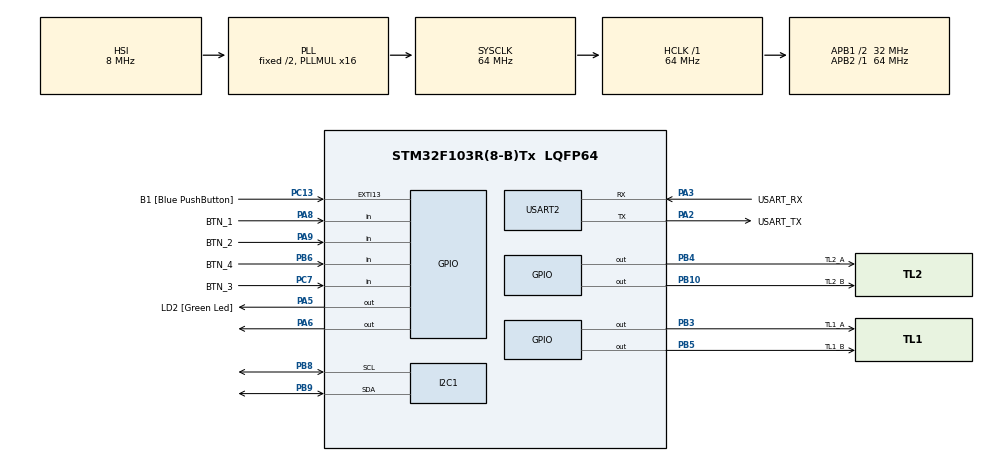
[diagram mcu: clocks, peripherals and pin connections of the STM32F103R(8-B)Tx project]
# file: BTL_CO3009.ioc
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Mcu.Family=STM32F1
Mcu.Name=STM32F103R(8-B)Tx
Mcu.Package=LQFP64
NVIC.EXTI15_10_IRQn=true\:0\:0\:false\:false\:true\:true\:true\:true
NVIC.PriorityGroup=NVIC_PRIORITYGROUP_4
NVIC.TIM2_IRQn=true\:0\:0\:false\:false\:true\:true\:true\:true
PA13.GPIO_Label=TMS
PA13.Mode=Serial_Wire
PA13.Signal=SYS_JTMS-SWDIO
PA14.GPIO_Label=TCK
PA14.Mode=Serial_Wire
PA14.Signal=SYS_JTCK-SWCLK
PA2.GPIO_Label=USART_TX
PA2.GPIO_Mode=GPIO_MODE_AF_PP
PA2.GPIO_PuPd=GPIO_NOPULL
PA2.GPIO_Speed=GPIO_SPEED_FREQ_LOW
PA2.Mode=Asynchronous
PA2.Signal=USART2_TX
PA3.GPIO_Label=USART_RX
PA3.GPIO_Mode=GPIO_MODE_AF_PP
PA3.GPIO_PuPd=GPIO_NOPULL
PA3.GPIO_Speed=GPIO_SPEED_FREQ_LOW
PA3.Mode=Asynchronous
PA3.Signal=USART2_RX
PA5.GPIO_Label=LD2 [Green Led]
PA5.GPIO_ModeDefaultOutputPP=GPIO_MODE_OUTPUT_PP
PA5.GPIO_PuPd=GPIO_NOPULL
PA5.GPIO_Speed=GPIO_SPEED_FREQ_LOW
PA5.Signal=GPIO_Output
PA6.Signal=GPIO_Output
PA8.GPIO_Label=BTN_1
PA8.GPIO_PuPd=GPIO_PULLUP
PA8.Signal=GPIO_Input
PA9.GPIO_Label=BTN_2
PA9.GPIO_PuPd=GPIO_PULLUP
PA9.Signal=GPIO_Input
PB10.GPIO_Label=TL2_B
PB10.Signal=GPIO_Output
PB3.GPIO_Label=TL1_A
PB3.Signal=GPIO_Output
PB4.GPIO_Label=TL2_A
PB4.Signal=GPIO_Output
PB5.GPIO_Label=TL1_B
PB5.Signal=GPIO_Output
PB6.GPIO_Label=BTN_4
PB6.GPIO_PuPd=GPIO_PULLUP
PB6.Signal=GPIO_Input
PB8.Mode=I2C
PB8.Signal=I2C1_SCL
PB9.Mode=I2C
PB9.Signal=I2C1_SDA
PC13-TAMPER-RTC.GPIO_Label=B1 [Blue PushButton]
PC13-TAMPER-RTC.GPIO_PuPd=GPIO_NOPULL
PC13-TAMPER-RTC.Signal=GPXTI13
PC14-OSC32_IN.Mode=LSE-External-Oscillator
PC14-OSC32_IN.Signal=RCC_OSC32_IN
PC15-OSC32_OUT.Mode=LSE-External-Oscillator
PC15-OSC32_OUT.Signal=RCC_OSC32_OUT
PC7.GPIO_Label=BTN_3
PC7.GPIO_PuPd=GPIO_PULLUP
PC7.Signal=GPIO_Input
PD0-OSC_IN.Mode=HSE-External-Clock-Source
PD0-OSC_IN.Signal=RCC_OSC_IN
PD1-OSC_OUT.Mode=HSE-External-Clock-Source
PD1-OSC_OUT.Signal=RCC_OSC_OUT
ProjectManager.HeapSize=0x200
ProjectManager.StackSize=0x400
ProjectManager.TargetToolchain=STM32CubeIDE
RCC.AHBFreq_Value=64000000
RCC.APB1CLKDivider=RCC_HCLK_DIV2
RCC.APB1Freq_Value=32000000
RCC.APB1TimFreq_Value=64000000
RCC.APB2Freq_Value=64000000
RCC.APB2TimFreq_Value=64000000
RCC.HCLKFreq_Value=64000000
RCC.PLLMUL=RCC_PLL_MUL16
RCC.RTCClockSelection=RCC_RTCCLKSOURCE_LSE
RCC.SYSCLKFreq_VALUE=64000000
RCC.SYSCLKSource=RCC_SYSCLKSOURCE_PLLCLK
RCC.USBFreq_Value=64000000
TIM2.Period=99
TIM2.Prescaler=6399
USART2.VirtualMode=VM_ASYNC
VP_TIM2_VS_ClockSourceINT.Mode=Internal
board=NUCLEO-F103RB

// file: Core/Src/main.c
/* USER CODE BEGIN Header */
/**
  ******************************************************************************
  * @file           : main.c
  * @brief          : Main program body
  ******************************************************************************
  * @attention
  *
  * <h2><center>&copy; Copyright (c) 2026 STMicroelectronics.
  * All rights reserved.</center></h2>
  *
  * This software component is licensed by ST under BSD 3-Clause license,
  * the "License"; You may not use this file except in compliance with the
  * License. You may obtain a copy of the License at:
  *                        opensource.org/licenses/BSD-3-Clause
  *
  ******************************************************************************
  */
/* USER CODE END Header */
#include "main.h"

/* USER CODE BEGIN Includes */
#include "traffic_light.h"
#include "button.h"
#include "dht20.h"
#include "lcd.h"
#include "scheduler.h"
#include "software_timer.h"
#include "fsm_mode_manager.h"
#include "fsm_automatic.h"
#include "fsm_manual.h"
#include "fsm_tuning.h"
/* USER CODE END Includes */

I2C_HandleTypeDef hi2c1;

TIM_HandleTypeDef htim2;

UART_HandleTypeDef huart2;

void SystemClock_Config(void);
static void MX_GPIO_Init(void);
static void MX_USART2_UART_Init(void);
static void MX_I2C1_Init(void);
static void MX_TIM2_Init(void);

/* USER CODE BEGIN 0 */
/* Application FSM tasks are registered below. */
/* USER CODE END 0 */

int main(void)
{

  /* MCU Configuration--------------------------------------------------------*/

  /* Reset of all peripherals, Initializes the Flash interface and the Systick. */
  HAL_Init();

  /* Configure the system clock */
  SystemClock_Config();

  /* Initialize all configured peripherals */
  MX_GPIO_Init();
  MX_USART2_UART_Init();
  MX_I2C1_Init();
  MX_TIM2_Init();
  /* USER CODE BEGIN 2 */
  uint8_t found_i2c[8] = {0};
  uint8_t num_i2c = dht20_scan_i2c(found_i2c, 8); /* Dat breakpoint xem dia chi LCD */
  (void)num_i2c;
  software_timer_init();
  traffic_init();
  button_init();
  dht20_init();
  lcd_init(LCD_DEFAULT_ADDR_7BIT);

  SCH_Init();
  fsm_mode_manager_init();

  /* Input sampling first; mode manager runs before the active FSM. */
  SCH_Add_Task(button_read,          0, 1);   /* 10 ms */
  SCH_Add_Task(dht20_read_task,      0, 10);  /* 100 ms; driver rate-limits sensor conversion */
  SCH_Add_Task(fsm_mode_manager_run, 0, 1);   /* 10 ms */
  SCH_Add_Task(fsm_automatic_run,    0, 1);   /* 10 ms */
  SCH_Add_Task(fsm_manual_run,       0, 1);   /* 10 ms */
  SCH_Add_Task(fsm_tuning_run,       0, 1);   /* 10 ms */

  HAL_TIM_Base_Start_IT(&htim2);
  /* USER CODE END 2 */

  /* Infinite loop */
  while (1)
  {

    /* USER CODE BEGIN 3 */
	  SCH_Dispatch_Tasks();
  }
  /* USER CODE END 3 */
}

void SystemClock_Config(void)
{
  RCC_OscInitTypeDef RCC_OscInitStruct = {0};
  RCC_ClkInitTypeDef RCC_ClkInitStruct = {0};

  /** Initializes the RCC Oscillators according to the specified parameters
  * in the RCC_OscInitTypeDef structure.
  */
  RCC_OscInitStruct.OscillatorType = RCC_OSCILLATORTYPE_HSI;
  RCC_OscInitStruct.HSIState = RCC_HSI_ON;
  RCC_OscInitStruct.HSICalibrationValue = RCC_HSICALIBRATION_DEFAULT;
  RCC_OscInitStruct.PLL.PLLState = RCC_PLL_ON;
  RCC_OscInitStruct.PLL.PLLSource = RCC_PLLSOURCE_HSI_DIV2;
  RCC_OscInitStruct.PLL.PLLMUL = RCC_PLL_MUL16;
  if (HAL_RCC_OscConfig(&RCC_OscInitStruct) != HAL_OK)
  {
    Error_Handler();
  }
  /** Initializes the CPU, AHB and APB buses clocks
  */
  RCC_ClkInitStruct.ClockType = RCC_CLOCKTYPE_HCLK|RCC_CLOCKTYPE_SYSCLK
                              |RCC_CLOCKTYPE_PCLK1|RCC_CLOCKTYPE_PCLK2;
  RCC_ClkInitStruct.SYSCLKSource = RCC_SYSCLKSOURCE_PLLCLK;
  RCC_ClkInitStruct.AHBCLKDivider = RCC_SYSCLK_DIV1;
  RCC_ClkInitStruct.APB1CLKDivider = RCC_HCLK_DIV2;
  RCC_ClkInitStruct.APB2CLKDivider = RCC_HCLK_DIV1;

  if (HAL_RCC_ClockConfig(&RCC_ClkInitStruct, FLASH_LATENCY_2) != HAL_OK)
  {
    Error_Handler();
  }
}

static void MX_I2C1_Init(void)
{

  hi2c1.Instance = I2C1;
  hi2c1.Init.ClockSpeed = 100000;
  hi2c1.Init.DutyCycle = I2C_DUTYCYCLE_2;
  hi2c1.Init.OwnAddress1 = 0;
  hi2c1.Init.AddressingMode = I2C_ADDRESSINGMODE_7BIT;
  hi2c1.Init.DualAddressMode = I2C_DUALADDRESS_DISABLE;
  hi2c1.Init.OwnAddress2 = 0;
  hi2c1.Init.GeneralCallMode = I2C_GENERALCALL_DISABLE;
  hi2c1.Init.NoStretchMode = I2C_NOSTRETCH_DISABLE;
  if (HAL_I2C_Init(&hi2c1) != HAL_OK)
  {
    Error_Handler();
  }

}

static void MX_TIM2_Init(void)
{

  TIM_ClockConfigTypeDef sClockSourceConfig = {0};
  TIM_MasterConfigTypeDef sMasterConfig = {0};

  htim2.Instance = TIM2;
  htim2.Init.Prescaler = 6399;
  htim2.Init.CounterMode = TIM_COUNTERMODE_UP;
  htim2.Init.Period = 99;
  htim2.Init.ClockDivision = TIM_CLOCKDIVISION_DIV1;
  htim2.Init.AutoReloadPreload = TIM_AUTORELOAD_PRELOAD_DISABLE;
  if (HAL_TIM_Base_Init(&htim2) != HAL_OK)
  {
    Error_Handler();
  }
  sClockSourceConfig.ClockSource = TIM_CLOCKSOURCE_INTERNAL;
  if (HAL_TIM_ConfigClockSource(&htim2, &sClockSourceConfig) != HAL_OK)
  {
    Error_Handler();
  }
  sMasterConfig.MasterOutputTrigger = TIM_TRGO_RESET;
  sMasterConfig.MasterSlaveMode = TIM_MASTERSLAVEMODE_DISABLE;
  if (HAL_TIMEx_MasterConfigSynchronization(&htim2, &sMasterConfig) != HAL_OK)
  {
    Error_Handler();
  }

}

static void MX_USART2_UART_Init(void)
{

  huart2.Instance = USART2;
  huart2.Init.BaudRate = 115200;
  huart2.Init.WordLength = UART_WORDLENGTH_8B;
  huart2.Init.StopBits = UART_STOPBITS_1;
  huart2.Init.Parity = UART_PARITY_NONE;
  huart2.Init.Mode = UART_MODE_TX_RX;
  huart2.Init.HwFlowCtl = UART_HWCONTROL_NONE;
  huart2.Init.OverSampling = UART_OVERSAMPLING_16;
  if (HAL_UART_Init(&huart2) != HAL_OK)
  {
    Error_Handler();
  }

}

static void MX_GPIO_Init(void)
{
  GPIO_InitTypeDef GPIO_InitStruct = {0};

  /* GPIO Ports Clock Enable */
  __HAL_RCC_GPIOC_CLK_ENABLE();
  __HAL_RCC_GPIOD_CLK_ENABLE();
  __HAL_RCC_GPIOA_CLK_ENABLE();
  __HAL_RCC_GPIOB_CLK_ENABLE();

  /*Configure GPIO pin Output Level */
  HAL_GPIO_WritePin(GPIOA, LD2_Pin|GPIO_PIN_6, GPIO_PIN_RESET);

  /*Configure GPIO pin Output Level */
  HAL_GPIO_WritePin(GPIOB, TL2_B_Pin|TL1_A_Pin|TL2_A_Pin|TL1_B_Pin, GPIO_PIN_RESET);

  /*Configure GPIO pin : B1_Pin */
  GPIO_InitStruct.Pin = B1_Pin;
  GPIO_InitStruct.Mode = GPIO_MODE_IT_RISING;
  GPIO_InitStruct.Pull = GPIO_NOPULL;
  HAL_GPIO_Init(B1_GPIO_Port, &GPIO_InitStruct);

  /*Configure GPIO pins : LD2_Pin PA6 */
  GPIO_InitStruct.Pin = LD2_Pin|GPIO_PIN_6;
  GPIO_InitStruct.Mode = GPIO_MODE_OUTPUT_PP;
  GPIO_InitStruct.Pull = GPIO_NOPULL;
  GPIO_InitStruct.Speed = GPIO_SPEED_FREQ_LOW;
  HAL_GPIO_Init(GPIOA, &GPIO_InitStruct);

  /*Configure GPIO pins : TL2_B_Pin TL1_A_Pin TL2_A_Pin TL1_B_Pin */
  GPIO_InitStruct.Pin = TL2_B_Pin|TL1_A_Pin|TL2_A_Pin|TL1_B_Pin;
  GPIO_InitStruct.Mode = GPIO_MODE_OUTPUT_PP;
  GPIO_InitStruct.Pull = GPIO_NOPULL;
  GPIO_InitStruct.Speed = GPIO_SPEED_FREQ_LOW;
  HAL_GPIO_Init(GPIOB, &GPIO_InitStruct);

  /*Configure GPIO pin : BTN_3_Pin */
  GPIO_InitStruct.Pin = BTN_3_Pin;
  GPIO_InitStruct.Mode = GPIO_MODE_INPUT;
  GPIO_InitStruct.Pull = GPIO_PULLUP;
  HAL_GPIO_Init(BTN_3_GPIO_Port, &GPIO_InitStruct);

  /*Configure GPIO pins : BTN_1_Pin BTN_2_Pin */
  GPIO_InitStruct.Pin = BTN_1_Pin|BTN_2_Pin;
  GPIO_InitStruct.Mode = GPIO_MODE_INPUT;
  GPIO_InitStruct.Pull = GPIO_PULLUP;
  HAL_GPIO_Init(GPIOA, &GPIO_InitStruct);

  /*Configure GPIO pin : BTN_4_Pin */
  GPIO_InitStruct.Pin = BTN_4_Pin;
  GPIO_InitStruct.Mode = GPIO_MODE_INPUT;
  GPIO_InitStruct.Pull = GPIO_PULLUP;
  HAL_GPIO_Init(BTN_4_GPIO_Port, &GPIO_InitStruct);

  /* EXTI interrupt init*/
  HAL_NVIC_SetPriority(EXTI15_10_IRQn, 0, 0);
  HAL_NVIC_EnableIRQ(EXTI15_10_IRQn);

}

void Error_Handler(void)
{
  __disable_irq();
  while (1)
  {
  }
}

/************************ (C) COPYRIGHT STMicroelectronics *****END OF FILE****/
